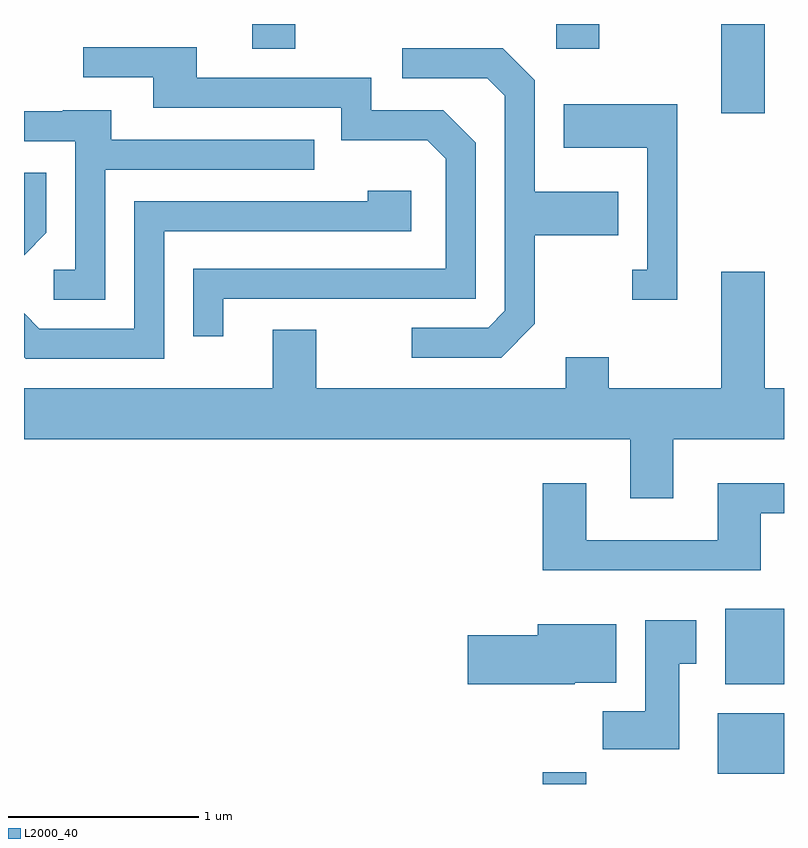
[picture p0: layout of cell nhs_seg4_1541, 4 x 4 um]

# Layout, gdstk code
import gdstk
lib = gdstk.Library(unit=1e-6, precision=1e-09)
def R(c, l, rs):  # rectangles x0, y0, x1, y1
    for r in rs: c.add(gdstk.rectangle(r[:2], r[2:], *l))
def P(c, l, *ps):  # polygons
    for p in ps: c.add(gdstk.Polygon(p, *l))
L2000_40 = (2000, 40)

nhs_seg4_1541 = lib.new_cell('nhs_seg4_1541')
R(nhs_seg4_1541, L2000_40, [(232.341,1343.982,232.569,1344.044), (233.261,1344.036,233.611,1344.354), (233.301,1344.506,233.611,1344.904), (233.281,1347.511,233.509,1347.982), (230.811,1347.851,231.039,1347.982), (232.411,1347.851,232.639,1347.982)])
P(nhs_seg4_1541, L2000_40, [(230.659,1346.536),(231.989,1346.536),(231.989,1347.357),(231.817,1347.529),(231.439,1347.529),(231.439,1347.699),(230.519,1347.699),(230.519,1347.859),(229.923,1347.859),(229.923,1347.701),(230.291,1347.701),(230.291,1347.541),(231.281,1347.541),(231.281,1347.371),(231.734,1347.371),(231.831,1347.274),(231.831,1346.694),(230.501,1346.694),(230.501,1346.338),(230.659,1346.338)],
  [(232.299,1346.404),(232.299,1346.871),(232.739,1346.871),(232.739,1347.099),(232.299,1347.099),(232.299,1347.687),(232.132,1347.854),(231.603,1347.854),(231.603,1347.696),(232.049,1347.696),(232.141,1347.604),(232.141,1346.472),(232.054,1346.384),(231.653,1346.384),(231.653,1346.226),(232.122,1346.226)],
  [(233.049,1347.559),(232.451,1347.559),(232.451,1347.331),(232.891,1347.331),(232.891,1346.689),(232.813,1346.689),(232.813,1346.531),(233.049,1346.531)],
  [(230.039,1347.216),(231.138,1347.216),(231.138,1347.374),(230.069,1347.374),(230.069,1347.529),(229.815,1347.529),(229.815,1347.524),(229.611,1347.524),(229.611,1347.366),(229.881,1347.366),(229.881,1346.689),(229.768,1346.689),(229.768,1346.531),(230.039,1346.531)],
  [(229.729,1346.884),(229.729,1347.198),(229.611,1347.198),(229.611,1346.765)],
  [(230.349,1346.891),(231.649,1346.891),(231.649,1347.104),(231.421,1347.104),(231.421,1347.049),(230.191,1347.049),(230.191,1346.379),(229.692,1346.379),(229.611,1346.46),(229.611,1346.229),(229.619,1346.221),(230.349,1346.221)],
  [(233.029,1345.796),(233.611,1345.796),(233.611,1346.064),(233.509,1346.064),(233.509,1346.679),(233.281,1346.679),(233.281,1346.064),(232.689,1346.064),(232.689,1346.229),(232.461,1346.229),(232.461,1346.064),(231.149,1346.064),(231.149,1346.374),(230.921,1346.374),(230.921,1346.064),(229.611,1346.064),(229.611,1345.796),(232.801,1345.796),(232.801,1345.486),(233.029,1345.486)],
  [(233.489,1345.406),(233.611,1345.406),(233.611,1345.564),(233.261,1345.564),(233.261,1345.264),(232.569,1345.264),(232.569,1345.564),(232.341,1345.564),(232.341,1345.106),(233.489,1345.106)],
  [(233.059,1344.616),(233.149,1344.616),(233.149,1344.844),(232.881,1344.844),(232.881,1344.364),(232.656,1344.364),(232.656,1344.166),(233.059,1344.166)],
  [(232.51,1344.516),(232.729,1344.516),(232.729,1344.824),(232.316,1344.824),(232.316,1344.764),(231.946,1344.764),(231.946,1344.506),(232.51,1344.506)])

lib.write_gds('nhs_seg4_1541.gds')
